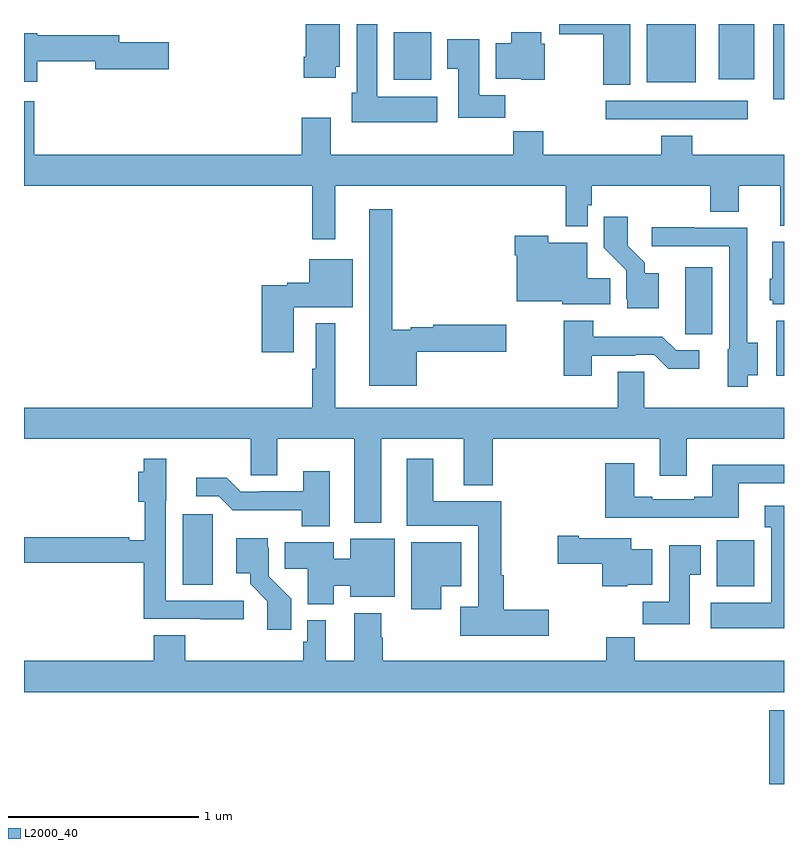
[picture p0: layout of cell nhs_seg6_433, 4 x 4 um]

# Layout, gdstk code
import gdstk
lib = gdstk.Library(unit=1e-6, precision=1e-09)
def R(c, l, rs):  # rectangles x0, y0, x1, y1
    for r in rs: c.add(gdstk.rectangle(r[:2], r[2:], *l))
def P(c, l, *ps):  # polygons
    for p in ps: c.add(gdstk.Polygon(p, *l))
L2000_40 = (2000, 40)

nhs_seg6_433 = lib.new_cell('nhs_seg6_433')
R(nhs_seg6_433, L2000_40, [(138.922,965.5,139,965.889), (138.647,966.542,138.844,966.784), (135.836,966.55,135.994,966.921), (138.959,967.65,139,967.939), (138.063,969,138.808,969.096), (138.944,969.105,139,969.5), (138.278,969.194,138.535,969.5), (136.947,969.206,137.143,969.456), (138.656,969.209,138.844,969.5)])
P(nhs_seg6_433, L2000_40, [(137.176,969.118),(136.858,969.118),(136.858,969.5),(136.751,969.5),(136.751,969.138),(136.724,969.138),(136.724,968.984),(137.176,968.984)],
  [(138.19,969.5),(137.816,969.5),(137.816,969.446),(138.049,969.446),(138.049,969.181),(138.19,969.181)],
  [(136.642,969.276),(136.663,969.276),(136.663,969.5),(136.484,969.5),(136.484,969.328),(136.472,969.328),(136.472,969.216),(136.642,969.216)],
  [(137.742,969.396),(137.722,969.396),(137.722,969.457),(137.564,969.457),(137.564,969.4),(137.483,969.4),(137.483,969.212),(137.616,969.212),(137.616,969.206),(137.742,969.206)],
  [(135.07,969.304),(135.374,969.304),(135.374,969.262),(135.763,969.262),(135.763,969.404),(135.502,969.404),(135.502,969.44),(135.07,969.44),(135.07,969.451),(135,969.451),(135,969.197),(135.07,969.197)],
  [(137.534,969.124),(137.395,969.124),(137.395,969.421),(137.228,969.421),(137.228,969.265),(137.285,969.265),(137.285,969.006),(137.534,969.006)],
  [(136.639,968.648),(137.851,968.648),(137.851,968.435),(137.967,968.435),(137.967,968.547),(137.987,968.547),(137.987,968.648),(138.611,968.648),(138.611,968.512),(138.763,968.512),(138.763,968.648),(138.98,968.648),(138.98,968.438),(139,968.438),(139,968.812),(138.518,968.812),(138.518,968.911),(138.353,968.911),(138.353,968.812),(137.732,968.812),(137.732,968.936),(137.575,968.936),(137.575,968.812),(136.615,968.812),(136.615,969.007),(136.463,969.007),(136.463,968.812),(135.055,968.812),(135.055,969.094),(135,969.094),(135,968.648),(136.518,968.648),(136.518,968.367),(136.639,968.367)],
  [(137.068,967.774),(137.539,967.774),(137.539,967.916),(137.154,967.916),(137.154,967.904),(137.036,967.904),(137.036,967.891),(136.939,967.891),(136.939,968.524),(136.817,968.524),(136.817,967.595),(137.068,967.595)],
  [(138.34,968.188),(138.268,968.188),(138.268,968.243),(138.178,968.333),(138.178,968.485),(138.052,968.485),(138.052,968.322),(138.171,968.203),(138.171,968.052),(138.176,968.052),(138.176,968.003),(138.34,968.003)],
  [(138.808,967.652),(138.862,967.652),(138.862,967.823),(138.807,967.823),(138.807,968.427),(138.527,968.427),(138.527,968.43),(138.303,968.43),(138.303,968.331),(138.711,968.331),(138.711,967.788),(138.704,967.788),(138.704,967.592),(138.808,967.592)],
  [(138.086,968.162),(137.965,968.162),(137.965,968.35),(137.76,968.35),(137.76,968.386),(137.582,968.386),(137.582,968.282),(137.594,968.282),(137.594,968.042),(137.832,968.042),(137.832,968.024),(138.086,968.024)],
  [(139,968.353),(138.938,968.353),(138.938,968.16),(138.926,968.16),(138.926,968.046),(138.942,968.046),(138.942,968.024),(139,968.024)],
  [(136.42,968.009),(136.729,968.009),(136.729,968.263),(136.502,968.263),(136.502,968.138),(136.386,968.138),(136.386,968.125),(136.25,968.125),(136.25,967.773),(136.42,967.773)],
  [(138.622,968.221),(138.479,968.221),(138.479,967.978),(138.48,967.978),(138.48,967.867),(138.622,967.867)],
  [(137.989,967.755),(138.218,967.755),(138.218,967.758),(138.318,967.758),(138.391,967.685),(138.553,967.685),(138.553,967.782),(138.432,967.782),(138.359,967.855),(137.997,967.855),(137.997,967.939),(137.842,967.939),(137.842,967.65),(137.989,967.65)],
  [(136.879,967.316),(137.315,967.316),(137.315,967.073),(137.468,967.073),(137.468,967.316),(138.347,967.316),(138.347,967.122),(138.487,967.122),(138.487,967.316),(139,967.316),(139,967.48),(138.264,967.48),(138.264,967.67),(138.125,967.67),(138.125,967.48),(136.639,967.48),(136.639,967.924),(136.535,967.924),(136.535,967.685),(136.518,967.685),(136.518,967.48),(135,967.48),(135,967.316),(136.194,967.316),(136.194,967.126),(136.333,967.126),(136.333,967.316),(136.739,967.316),(136.739,966.875),(136.879,966.875)],
  [(136.156,966.465),(135.747,966.465),(135.747,966.99),(135.748,966.99),(135.748,967.213),(135.631,967.213),(135.631,967.144),(135.602,967.144),(135.602,966.986),(135.635,966.986),(135.635,966.782),(135.554,966.782),(135.554,966.8),(135,966.8),(135,966.664),(135.631,966.664),(135.631,966.369),(135.931,966.369),(135.931,966.367),(136.156,966.367)],
  [(137.761,966.416),(137.525,966.416),(137.525,966.599),(137.512,966.599),(137.512,966.988),(137.155,966.988),(137.155,967.213),(137.015,967.213),(137.015,966.86),(137.39,966.86),(137.39,966.433),(137.295,966.433),(137.295,966.281),(137.761,966.281)],
  [(138.763,967.083),(139,967.083),(139,967.18),(138.623,967.18),(138.623,967.012),(138.527,967.012),(138.527,966.999),(138.307,966.999),(138.307,967.012),(138.211,967.012),(138.211,967.189),(138.059,967.189),(138.059,966.902),(138.763,966.902)],
  [(136.609,967.147),(136.469,967.147),(136.469,967.041),(136.24,967.041),(136.24,967.038),(136.14,967.038),(136.067,967.111),(135.906,967.111),(135.906,967.014),(136.026,967.014),(136.099,966.942),(136.462,966.942),(136.462,966.857),(136.609,966.857)],
  [(139,966.964),(138.899,966.964),(138.899,966.851),(138.932,966.851),(138.932,966.454),(138.615,966.454),(138.615,966.32),(139,966.32)],
  [(138.174,966.548),(138.307,966.548),(138.307,966.736),(138.196,966.736),(138.196,966.793),(137.92,966.793),(137.92,966.806),(137.808,966.806),(137.808,966.659),(138.044,966.659),(138.044,966.542),(138.174,966.542)],
  [(136.406,966.474),(136.287,966.593),(136.287,966.744),(136.282,966.744),(136.282,966.793),(136.118,966.793),(136.118,966.608),(136.19,966.608),(136.19,966.553),(136.281,966.463),(136.281,966.312),(136.406,966.312)],
  [(136.63,966.544),(136.718,966.544),(136.718,966.485),(136.951,966.485),(136.951,966.79),(136.718,966.79),(136.718,966.686),(136.63,966.686),(136.63,966.772),(136.372,966.772),(136.372,966.634),(136.493,966.634),(136.493,966.446),(136.63,966.446)],
  [(137.197,966.542),(137.302,966.542),(137.302,966.772),(137.039,966.772),(137.039,966.42),(137.197,966.42)],
  [(138.505,966.601),(138.562,966.601),(138.562,966.757),(138.395,966.757),(138.395,966.46),(138.256,966.46),(138.256,966.342),(138.505,966.342)],
  [(139,966.148),(138.215,966.148),(138.215,966.272),(138.064,966.272),(138.064,966.148),(136.887,966.148),(136.887,966.269),(136.879,966.269),(136.879,966.4),(136.739,966.4),(136.739,966.148),(136.588,966.148),(136.588,966.361),(136.491,966.361),(136.491,966.249),(136.471,966.249),(136.471,966.148),(135.848,966.148),(135.848,966.284),(135.683,966.284),(135.683,966.148),(135,966.148),(135,965.984),(139,965.984)])

lib.write_gds('nhs_seg6_433.gds')
